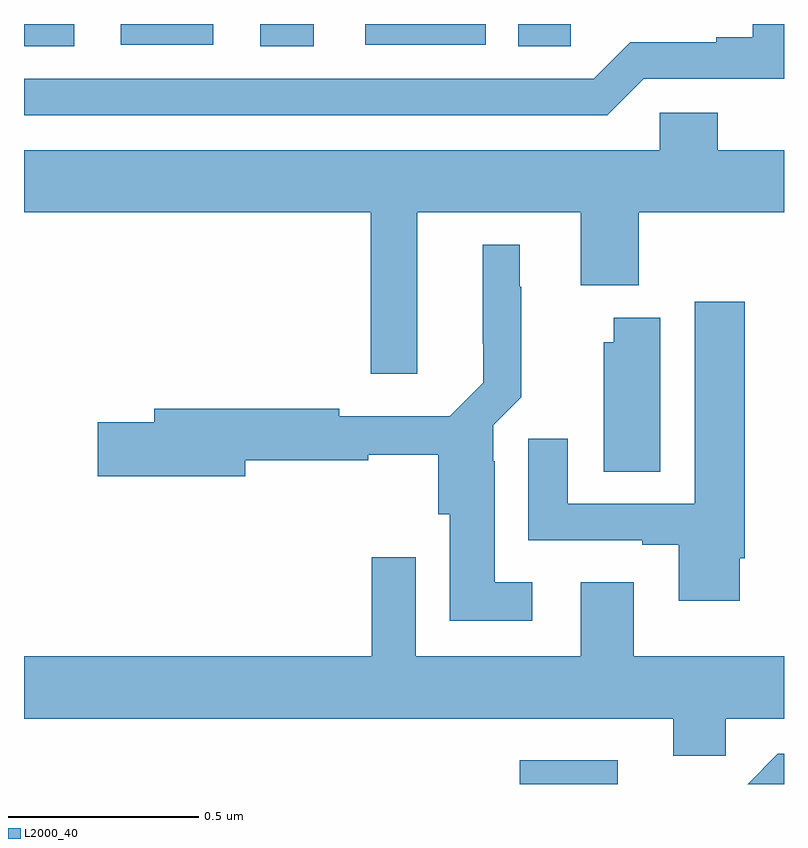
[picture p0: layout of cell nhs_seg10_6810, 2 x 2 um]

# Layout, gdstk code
import gdstk
lib = gdstk.Library(unit=1e-6, precision=1e-09)
def R(c, l, rs):  # rectangles x0, y0, x1, y1
    for r in rs: c.add(gdstk.rectangle(r[:2], r[2:], *l))
def P(c, l, *ps):  # polygons
    for p in ps: c.add(gdstk.Polygon(p, *l))
L2000_40 = (2000, 40)

nhs_seg10_6810 = lib.new_cell('nhs_seg10_6810')
R(nhs_seg10_6810, L2000_40, [(197.305,1277.5,197.563,1277.562), (196,1279.441,196.132,1279.5), (196.622,1279.441,196.762,1279.5), (197.3,1279.441,197.439,1279.5), (196.898,1279.445,197.215,1279.5), (196.254,1279.446,196.498,1279.5)])
P(nhs_seg10_6810, L2000_40, [(197.631,1279.356),(198,1279.356),(198,1279.5),(197.918,1279.5),(197.918,1279.465),(197.822,1279.465),(197.822,1279.452),(197.595,1279.452),(197.499,1279.356),(196,1279.356),(196,1279.26),(197.535,1279.26)],
  [(197.035,1279.004),(197.465,1279.004),(197.465,1278.812),(197.618,1278.812),(197.618,1279.004),(198,1279.004),(198,1279.168),(197.825,1279.168),(197.825,1279.266),(197.673,1279.266),(197.673,1279.168),(196,1279.168),(196,1279.004),(196.913,1279.004),(196.913,1278.579),(197.035,1278.579)],
  [(197.338,1278.031),(197.239,1278.031),(197.239,1278.35),(197.235,1278.35),(197.235,1278.444),(197.309,1278.518),(197.309,1278.809),(197.305,1278.809),(197.305,1278.919),(197.207,1278.919),(197.207,1278.658),(197.208,1278.658),(197.208,1278.556),(197.12,1278.468),(196.829,1278.468),(196.829,1278.488),(196.343,1278.488),(196.343,1278.452),(196.194,1278.452),(196.194,1278.31),(196.582,1278.31),(196.582,1278.352),(196.906,1278.352),(196.906,1278.367),(197.09,1278.367),(197.09,1278.21),(197.12,1278.21),(197.12,1277.93),(197.338,1277.93)],
  [(197.884,1278.094),(197.897,1278.094),(197.897,1278.769),(197.765,1278.769),(197.765,1278.237),(197.431,1278.237),(197.431,1278.409),(197.327,1278.409),(197.327,1278.141),(197.627,1278.141),(197.627,1278.129),(197.723,1278.129),(197.723,1277.982),(197.884,1277.982)],
  [(197.674,1278.727),(197.552,1278.727),(197.552,1278.663),(197.525,1278.663),(197.525,1278.322),(197.674,1278.322)],
  [(197.847,1277.672),(198,1277.672),(198,1277.836),(197.605,1277.836),(197.605,1278.031),(197.465,1278.031),(197.465,1277.836),(197.031,1277.836),(197.031,1278.097),(196.915,1278.097),(196.915,1277.836),(196,1277.836),(196,1277.672),(197.708,1277.672),(197.708,1277.574),(197.847,1277.574)],
  [(198,1277.58),(197.984,1277.58),(197.904,1277.5),(198,1277.5)])

lib.write_gds('nhs_seg10_6810.gds')
